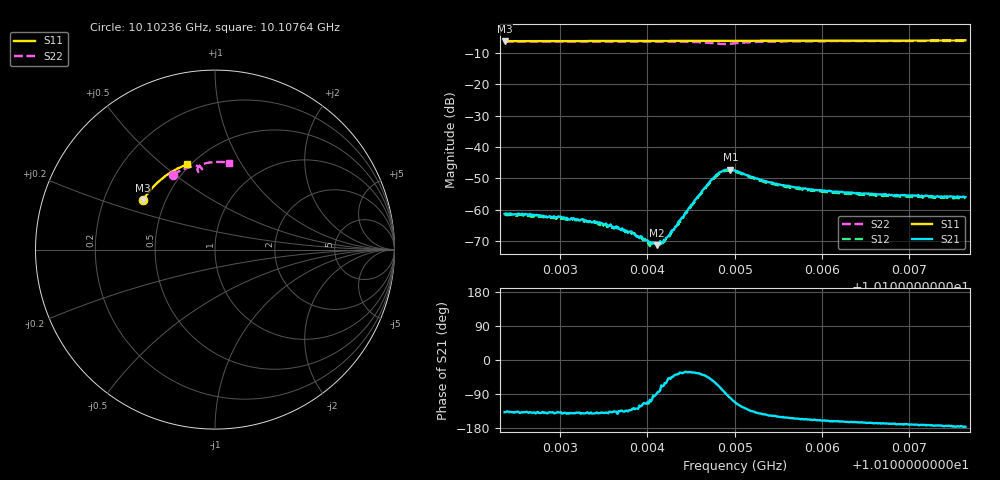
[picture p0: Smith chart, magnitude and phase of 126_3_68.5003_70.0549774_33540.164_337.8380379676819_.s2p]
#  HZ  S  RI  R  50.00
! Rohde & Schwarz Vector Network Analyzer
! Rohde-Schwarz,ZNB20-2Port,1311601062101988,3.16
! Created: UTC 3/20/2024, 5:09:19 PM
! freq[Hz]  re:S11  im:S11  re:S21  im:S21  re:S12  im:S12  re:S22  im:S22
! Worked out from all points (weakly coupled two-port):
!   401 points, 10.10236 GHz to 10.10764 GHz, reference 50 ohm
!   highest |S21| = -47.22 dB at 10.10495 GHz (marker M1); lowest = -71.2 dB at 10.10411 GHz (marker M2)
!   lowest |S11| = -6.3 dB at 10.10236 GHz (marker M3), VSWR 2.89, Z = 18.8 + j13.6 ohm
!   |S11| at or under -10 dB: nowhere
!   |S22| runs from -7.2 to -6.2 dB; largest |S21 - S12| = 0.00045
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1.0102363e10  -0.3996 0.2767  -0.000636 -0.000577  -0.00057 -0.000622  -0.2362 0.416
1.0102627e10  -0.3908 0.2902  -0.000615 -0.000557  -0.000557 -0.000571  -0.2214 0.4248
1.0103247e10  -0.3686 0.3208  -0.000544 -0.00045  -0.000454 -0.000457  -0.1847 0.4437
1.0103445e10  -0.361 0.3301  -0.000483 -0.000402  -0.000415 -0.000402  -0.1724 0.4491
1.010367e10  -0.3521 0.3405  -0.000352 -0.000353  -0.00035 -0.000388  -0.158 0.4548
1.0103815e10  -0.3463 0.3472  -0.000301 -0.000334  -0.000235 -0.000347  -0.1483 0.458
1.0103881e10  -0.3436 0.3499  -0.000231 -0.000293  -0.000204 -0.000313  -0.1437 0.4595
1.010396e10  -0.3402 0.3535  -0.000135 -0.000308  -0.000131 -0.000298  -0.1382 0.461
1.0104039e10  -0.337 0.3569  -0.000102 -0.000286  -4.14e-05 -0.000278  -0.1323 0.4626
1.0104105e10  -0.3341 0.3598  7.06e-06 -0.000276  5.53e-05 -0.000287  -0.1275 0.4638
1.0104132e10  -0.3329 0.3609  3.34e-05 -0.000292  7.36e-05 -0.000286  -0.1253 0.4642
1.0104198e10  -0.3302 0.3638  0.00017 -0.000307  0.000179 -0.000258  -0.1201 0.4651
1.0104277e10  -0.3267 0.3672  0.000329 -0.000328  0.000343 -0.000275  -0.1136 0.466
1.0104567e10  -0.3138 0.3793  0.00129 -0.000885  0.00131 -0.000714  -0.086 0.4627
1.0104752e10  -0.3054 0.3865  0.00181 -0.0026  0.00197 -0.00233  -0.0722 0.4446
1.0104845e10  -0.3012 0.3901  0.000995 -0.0039  0.0013 -0.00365  -0.0782 0.4329
1.010495e10  -0.2965 0.3941  -0.000796 -0.00428  -0.000424 -0.00415  -0.0929 0.4341
1.0105003e10  -0.2939 0.396  -0.00153 -0.00391  -0.00111 -0.00387  -0.097 0.4404
1.0105373e10  -0.2763 0.4099  -0.00229 -0.00159  -0.00205 -0.00174  -0.0776 0.4717
1.0105887e10  -0.2506 0.4276  -0.00197 -0.000776  -0.0018 -0.000923  -0.0393 0.4836
1.0106772e10  -0.204 0.4539  -0.0017 -0.000349  -0.00156 -0.000495  0.0205 0.4884
1.0107643e10  -0.1555 0.4746  -0.00159 -0.000101  -0.00151 -0.000249  0.0774 0.4852
